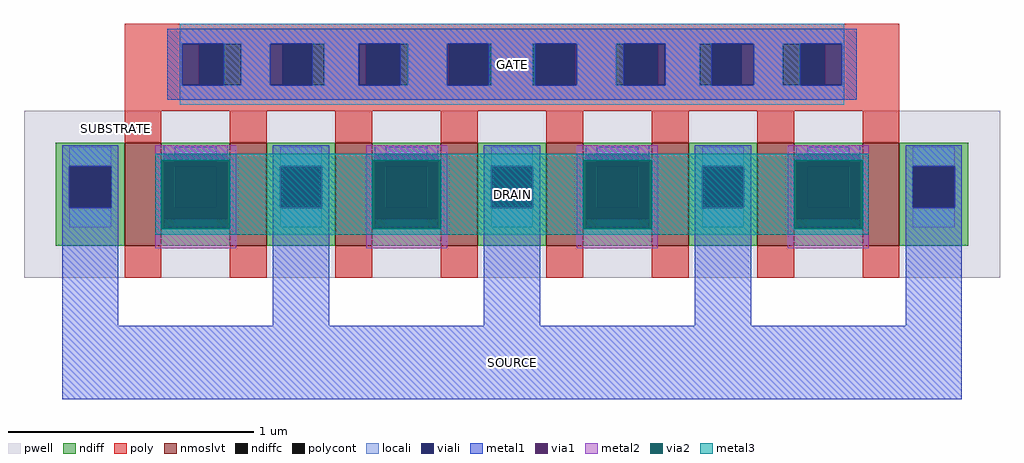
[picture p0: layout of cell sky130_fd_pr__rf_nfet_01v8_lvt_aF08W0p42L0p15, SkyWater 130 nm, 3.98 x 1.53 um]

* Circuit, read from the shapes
.subckt sky130_fd_pr__rf_nfet_01v8_lvt_aF08W0p42L0p15 DRAIN SOURCE GATE SUBSTRATE
XM1 DRAIN GATE SOURCE SUBSTRATE sky130_fd_pr__nfet_01v8_lvt w=0.42 l=0.15 m=8
.ends

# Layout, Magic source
magic
tech sky130A
magscale 1 2
<< pwell >>
rect 10 10 806 146
<< nmoslvt >>
rect 92 36 122 120
rect 178 36 208 120
rect 264 36 294 120
rect 350 36 380 120
rect 436 36 466 120
rect 522 36 552 120
rect 608 36 638 120
rect 694 36 724 120
<< ndiff >>
rect 36 101 92 120
rect 36 67 47 101
rect 81 67 92 101
rect 36 36 92 67
rect 122 101 178 120
rect 122 67 133 101
rect 167 67 178 101
rect 122 36 178 67
rect 208 101 264 120
rect 208 67 219 101
rect 253 67 264 101
rect 208 36 264 67
rect 294 101 350 120
rect 294 67 305 101
rect 339 67 350 101
rect 294 36 350 67
rect 380 101 436 120
rect 380 67 391 101
rect 425 67 436 101
rect 380 36 436 67
rect 466 101 522 120
rect 466 67 477 101
rect 511 67 522 101
rect 466 36 522 67
rect 552 101 608 120
rect 552 67 563 101
rect 597 67 608 101
rect 552 36 608 67
rect 638 101 694 120
rect 638 67 649 101
rect 683 67 694 101
rect 638 36 694 67
rect 724 101 780 120
rect 724 67 735 101
rect 769 67 780 101
rect 724 36 780 67
<< ndiffc >>
rect 47 67 81 101
rect 133 67 167 101
rect 219 67 253 101
rect 305 67 339 101
rect 391 67 425 101
rect 477 67 511 101
rect 563 67 597 101
rect 649 67 683 101
rect 735 67 769 101
<< poly >>
rect 92 201 724 217
rect 92 167 153 201
rect 187 167 221 201
rect 255 167 289 201
rect 323 167 357 201
rect 391 167 425 201
rect 459 167 493 201
rect 527 167 561 201
rect 595 167 629 201
rect 663 167 724 201
rect 92 146 724 167
rect 92 120 122 146
rect 178 120 208 146
rect 264 120 294 146
rect 350 120 380 146
rect 436 120 466 146
rect 522 120 552 146
rect 608 120 638 146
rect 694 120 724 146
rect 92 10 122 36
rect 178 10 208 36
rect 264 10 294 36
rect 350 10 380 36
rect 436 10 466 36
rect 522 10 552 36
rect 608 10 638 36
rect 694 10 724 36
<< polycont >>
rect 153 167 187 201
rect 221 167 255 201
rect 289 167 323 201
rect 357 167 391 201
rect 425 167 459 201
rect 493 167 527 201
rect 561 167 595 201
rect 629 167 663 201
<< locali >>
rect 137 201 679 217
rect 137 167 139 201
rect 187 167 211 201
rect 255 167 283 201
rect 323 167 355 201
rect 391 167 425 201
rect 461 167 493 201
rect 533 167 561 201
rect 605 167 629 201
rect 677 167 679 201
rect 137 151 679 167
rect 47 101 81 117
rect 47 51 81 67
rect 133 101 167 117
rect 133 51 167 67
rect 219 101 253 117
rect 219 51 253 67
rect 305 101 339 117
rect 305 51 339 67
rect 391 101 425 117
rect 391 51 425 67
rect 477 101 511 117
rect 477 51 511 67
rect 563 101 597 117
rect 563 51 597 67
rect 649 101 683 117
rect 649 51 683 67
rect 735 101 769 117
rect 735 51 769 67
<< viali >>
rect 139 167 153 201
rect 153 167 173 201
rect 211 167 221 201
rect 221 167 245 201
rect 283 167 289 201
rect 289 167 317 201
rect 355 167 357 201
rect 357 167 389 201
rect 427 167 459 201
rect 459 167 461 201
rect 499 167 527 201
rect 527 167 533 201
rect 571 167 595 201
rect 595 167 605 201
rect 643 167 663 201
rect 663 167 677 201
rect 47 67 81 101
rect 133 67 167 101
rect 219 67 253 101
rect 305 67 339 101
rect 391 67 425 101
rect 477 67 511 101
rect 563 67 597 101
rect 649 67 683 101
rect 735 67 769 101
<< metal1 >>
rect 127 201 689 213
rect 127 167 139 201
rect 173 167 211 201
rect 245 167 283 201
rect 317 167 355 201
rect 389 167 427 201
rect 461 167 499 201
rect 533 167 571 201
rect 605 167 643 201
rect 677 167 689 201
rect 127 155 689 167
rect 41 101 87 118
rect 41 67 47 101
rect 81 67 87 101
rect 41 -29 87 67
rect 124 110 176 118
rect 124 51 176 58
rect 213 101 259 118
rect 213 67 219 101
rect 253 67 259 101
rect 213 -29 259 67
rect 296 110 348 118
rect 296 51 348 58
rect 385 101 431 118
rect 385 67 391 101
rect 425 67 431 101
rect 385 -29 431 67
rect 468 110 520 118
rect 468 51 520 58
rect 557 101 603 118
rect 557 67 563 101
rect 597 67 603 101
rect 557 -29 603 67
rect 640 110 692 118
rect 640 51 692 58
rect 729 101 775 118
rect 729 67 735 101
rect 769 67 775 101
rect 729 -29 775 67
rect 41 -89 775 -29
<< via1 >>
rect 124 101 176 110
rect 124 67 133 101
rect 133 67 167 101
rect 167 67 176 101
rect 124 58 176 67
rect 296 101 348 110
rect 296 67 305 101
rect 305 67 339 101
rect 339 67 348 101
rect 296 58 348 67
rect 468 101 520 110
rect 468 67 477 101
rect 477 67 511 101
rect 511 67 520 101
rect 468 58 520 67
rect 640 101 692 110
rect 640 67 649 101
rect 649 67 683 101
rect 683 67 692 101
rect 640 58 692 67
<< metal2 >>
rect 117 110 183 118
rect 117 106 124 110
rect 176 106 183 110
rect 117 50 122 106
rect 178 50 183 106
rect 117 34 183 50
rect 289 110 355 118
rect 289 106 296 110
rect 348 106 355 110
rect 289 50 294 106
rect 350 50 355 106
rect 289 34 355 50
rect 461 110 527 118
rect 461 106 468 110
rect 520 106 527 110
rect 461 50 466 106
rect 522 50 527 106
rect 461 34 527 50
rect 633 110 699 118
rect 633 106 640 110
rect 692 106 699 110
rect 633 50 638 106
rect 694 50 699 106
rect 633 34 699 50
<< via2 >>
rect 122 58 124 106
rect 124 58 176 106
rect 176 58 178 106
rect 122 50 178 58
rect 294 58 296 106
rect 296 58 348 106
rect 348 58 350 106
rect 294 50 350 58
rect 466 58 468 106
rect 468 58 520 106
rect 520 58 522 106
rect 466 50 522 58
rect 638 58 640 106
rect 640 58 692 106
rect 692 58 694 106
rect 638 50 694 58
<< metal3 >>
rect 117 106 699 111
rect 117 50 122 106
rect 178 50 294 106
rect 350 50 466 106
rect 522 50 638 106
rect 694 50 699 106
rect 117 45 699 50
<< labels >>
flabel metal3 s 117 45 699 111 0 FreeSans 400 0 0 0 DRAIN
port 1 nsew
flabel metal1 s 41 -89 775 -29 0 FreeSans 400 0 0 0 SOURCE
port 2 nsew
flabel metal1 s 127 155 689 213 0 FreeSans 400 0 0 0 GATE
port 3 nsew
flabel pwell s 80 125 91 139 0 FreeSans 200 0 0 0 SUBSTRATE
port 4 nsew
<< properties >>
string GDS_FILE $PDKPATH/libs.ref/sky130_fd_pr/gds/sky130_fd_pr.gds
string GDS_END 5873742
string GDS_START 5863728
string path 1.600 2.950 1.600 -2.225 
<< end >>
